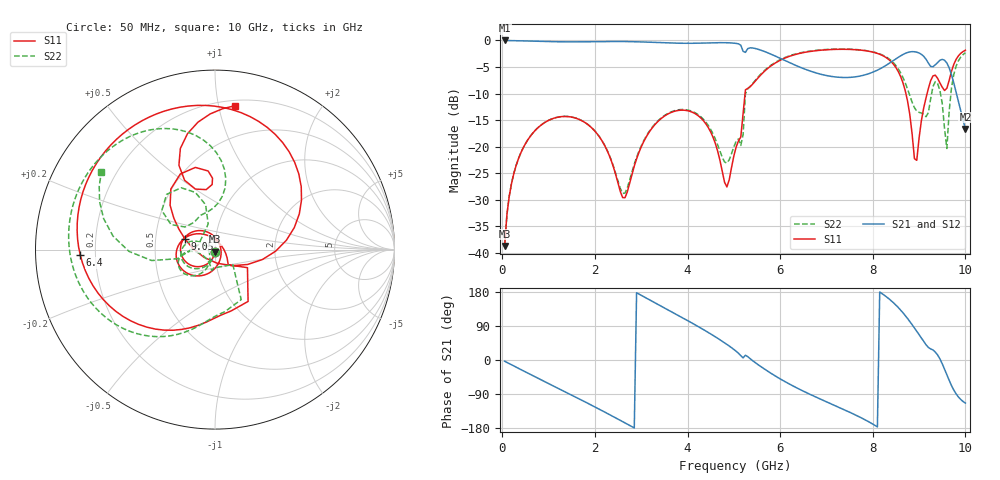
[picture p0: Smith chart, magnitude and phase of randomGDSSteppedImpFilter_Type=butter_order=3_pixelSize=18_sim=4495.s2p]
! freq	dB(S11)	phase(S11)	dB(S12)	phase(S12)
!  dB(S21)	phase(S21)	dB(S22)	phase(S22)
!S-par simulation data
#  GHz  S  DB  R 50
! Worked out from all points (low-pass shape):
!   200 points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, 50 MHz to 10 GHz, reference 50 ohm
!   highest |S21| = -0.01 dB at 50 MHz (marker M1); lowest = -16.7 dB at 10 GHz (marker M2)
!   |S21| within 3 dB of the highest: start of sweep to 5.909 GHz; 8.582 GHz to 9.101 GHz (519.7 MHz wide, 5.88 % of centre)
!   lowest |S11| = -38.7 dB at 50 MHz (marker M3), VSWR 1.02, Z = 49.9 - j1.16 ohm
!   |S11| at or under -10 dB: start of sweep to 5.242 GHz; 8.715 GHz to 9.173 GHz (458.6 MHz wide, 5.13 % of centre)
!   |S22| runs from -38.7 to -1.6 dB; largest |S21 - S12| = 0
!   S11 on the Smith chart (normalised r, x): 50 MHz: 1.00, -0.02; 6.4 GHz: 0.14, -0.02; 9.05 GHz: 0.71, +0.08; 10 GHz: 0.24, +1.12
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0.05  -38.73 -92.9  -0.01 -3.2  -0.01 -3.2  -38.74 -92.7
0.2  -26.90 -103.5  -0.03 -12.7  -0.03 -12.7  -26.90 -101.7
0.55  -18.73 -127.5  -0.11 -34.5  -0.11 -34.5  -18.72 -122.5
1.75  -15.27 150.4  -0.26 -108.2  -0.26 -108.2  -15.26 172.3
2.65  -29.61 -1.9  -0.21 -166.0  -0.21 -166.0  -28.74 -150.8
3.4  -14.93 -125.2  -0.42 144.2  -0.42 144.2  -14.82 -127.3
4.3  -14.71 161.0  -0.51 83.4  -0.51 83.4  -14.48 -170.5
4.85  -27.59 34.8  -0.43 41.2  -0.43 41.2  -23.09 -133.9
5.05  -20.06 -43.9  -0.56 23.2  -0.56 23.2  -18.98 -100.4
5.2  -13.68 -29.1  -2.05 5.6  -2.05 5.6  -17.72 -40.0
5.25  -9.31 -57.4  -2.25 12.6  -2.25 12.6  -10.04 -62.3
6.4  -2.48 -177.7  -4.94 -76.1  -4.94 -76.1  -2.40 -159.1
6.7  -2.01 162.5  -5.92 -93.7  -5.92 -93.7  -1.94 -174.2
7.65  -1.76 103.8  -6.83 -146.4  -6.83 -146.4  -1.72 142.1
8.35  -3.63 47.6  -4.34 161.4  -4.34 161.4  -3.46 103.0
8.7  -9.42 -1.5  -2.45 117.5  -2.45 117.5  -7.96 81.4
8.9  -22.28 -81.0  -2.13 84.6  -2.13 84.6  -12.67 92.0
9.05  -15.08 160.9  -2.62 57.9  -2.62 57.9  -13.67 112.4
9.4  -7.14 95.0  -4.18 13.4  -4.18 13.4  -8.12 118.7
9.6  -9.01 108.0  -4.25 -38.9  -4.25 -38.9  -20.35 163.9
9.75  -4.50 108.9  -8.02 -79.5  -8.02 -79.5  -6.39 -178.8
10  -1.84 82.2  -16.67 -113.6  -16.67 -113.6  -2.32 145.8
